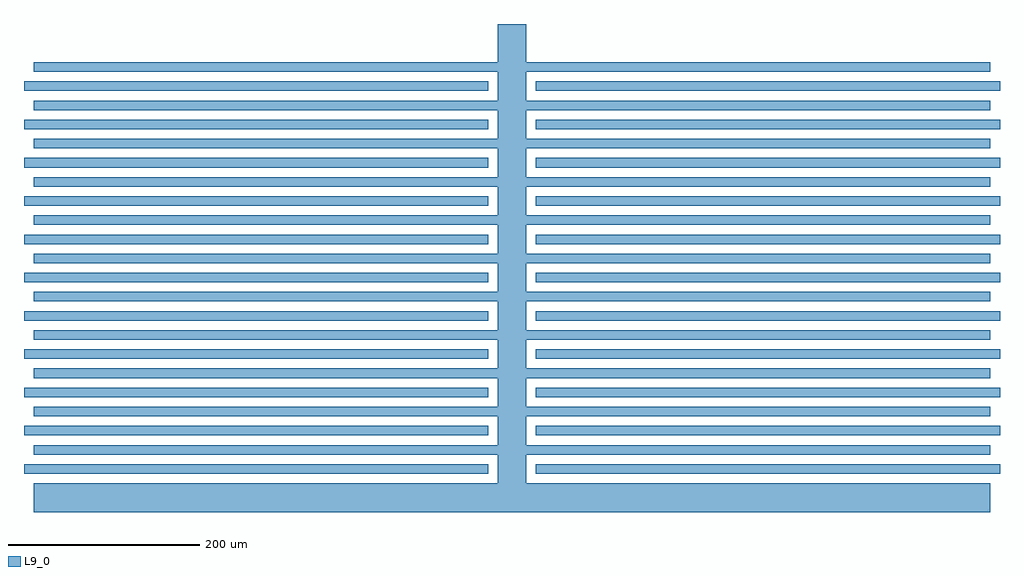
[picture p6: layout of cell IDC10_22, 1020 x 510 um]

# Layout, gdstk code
import gdstk
lib = gdstk.Library(unit=1e-6, precision=1e-09)
def R(c, l, rs):  # rectangles x0, y0, x1, y1
    for r in rs: c.add(gdstk.rectangle(r[:2], r[2:], *l))
L9_0 = (9, 0)

idc_section = lib.new_cell('IDC_section')
R(idc_section, L9_0, [(-5760,145,-5275,155), (-5225,145,-4740,155), (-5750,165,-5265,175), (-5235,165,-4750,175)])

idc10_22 = lib.new_cell('IDC10_22')
R(idc10_22, L9_0, [(-4250,105,-3250,135), (-3765,135,-3735,615)])
r = gdstk.Reference(idc_section, (1500,0)); r.repetition = gdstk.Repetition(1, 11, v1=(1020,0), v2=(0,40)); idc10_22.add(r)

lib.write_gds('IDC10_22.gds')
